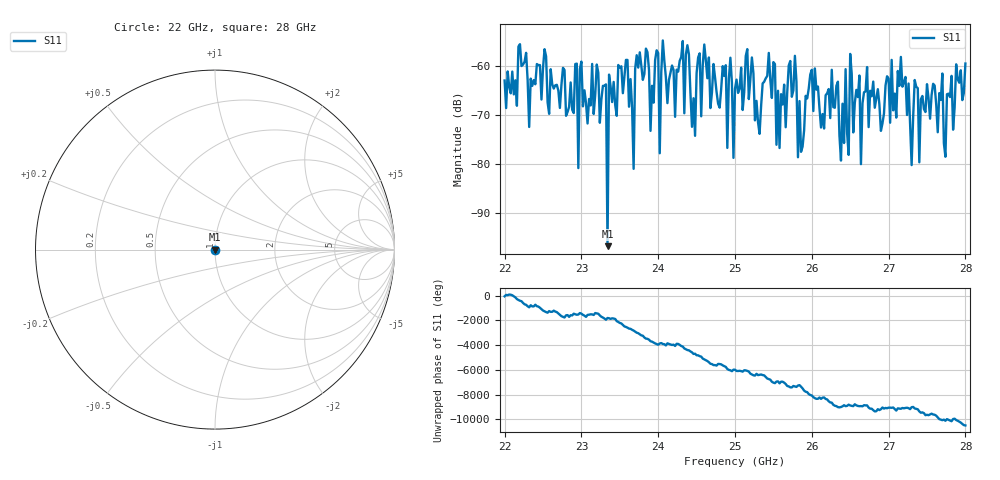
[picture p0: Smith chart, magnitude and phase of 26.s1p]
#  HZ  S  RI  R  50.00
! Rohde & Schwarz ZVA40 4Ports - Version 3.90 - 1145.1110k42 SN: 100403
! Date: 2023-10-04 08:05:43
! Measurement: S12
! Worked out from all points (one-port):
!   301 points, 22 GHz to 28 GHz, reference 50 ohm
!   lowest |S11| = -96.9 dB at 23.34 GHz (marker M1), VSWR 1.00, Z = 50 + j3.36e-05 ohm
!   |S11| at or under -10 dB: start of sweep to end of sweep
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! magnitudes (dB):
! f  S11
! 22 GHz  -62.9
! 22.76 GHz  -60.3
! 22.96 GHz  -80.9
! 23.32 GHz  -63.7
! 23.34 GHz  -96.9
! 23.36 GHz  -61.7
! 23.5 GHz  -60.2
! 23.68 GHz  -81.0
! 23.72 GHz  -57.7
! 23.9 GHz  -73.2
! 24 GHz  -57.3
! 24.02 GHz  -77.8
! 24.06 GHz  -54.7
! 24.26 GHz  -61.1
! 25 GHz  -64.6
! 25.76 GHz  -64.9
! 26.26 GHz  -60.7
! 26.38 GHz  -79.3
! 26.44 GHz  -60.6
! 26.48 GHz  -78.2
! 26.5 GHz  -57.4
! 26.64 GHz  -80.1
! 26.72 GHz  -60.1
! 27.26 GHz  -63.5
! 27.4 GHz  -79.7
! 27.7 GHz  -61.5
! 27.74 GHz  -78.5
! 28 GHz  -59.4
